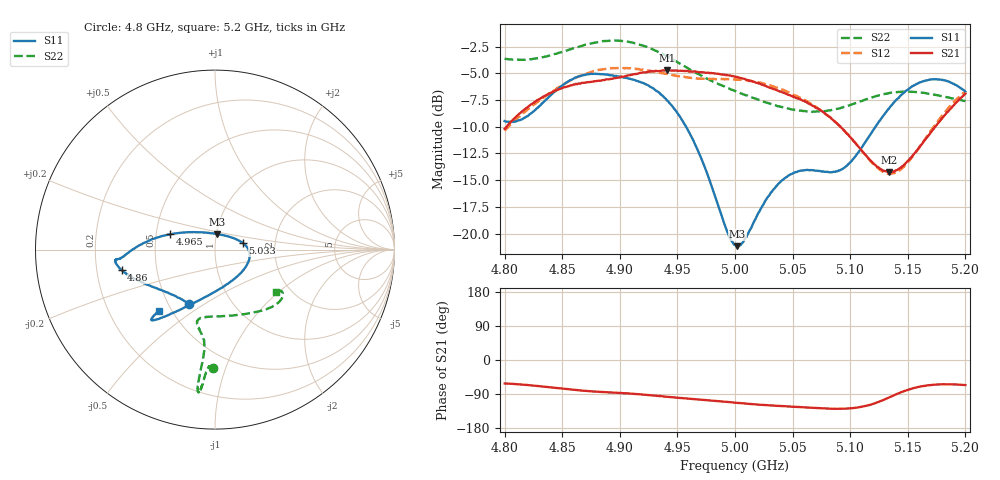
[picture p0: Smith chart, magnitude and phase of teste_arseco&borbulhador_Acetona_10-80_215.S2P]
! Network Analyzer HP8722D
! Hewlett-Packard
! Data name: Linha & Wilkinson
! Saver's name: Rodrigo Anjos
! Comments: Teste da utilização de aquisição
! continua pelo VNA HP8722D
! Time and date: 17/4/2025 16:09
!  Frequency  S11  S21  S12  S22
# HZ  S  MA R 50
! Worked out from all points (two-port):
!   401 points, 4.8 GHz to 5.2 GHz, reference 50 ohm
!   highest |S21| = -4.72 dB at 4.941 GHz (marker M1); lowest = -14.2 dB at 5.134 GHz (marker M2)
!   |S21| within 3 dB of the highest: 4.826 GHz to 5.062 GHz (236.7 MHz wide, 4.79 % of centre); 5.192232 GHz to end of sweep
!   lowest |S11| = -21.2 dB at 5.002 GHz (marker M3), VSWR 1.19, Z = 50.6 + j8.79 ohm
!   |S11| at or under -10 dB: 4.958 GHz to 5.122 GHz (164.4 MHz wide, 3.26 % of centre)
!   |S22| runs from -8.6 to -1.9 dB; largest |S21 - S12| = 0.87
!   S11 on the Smith chart (normalised r, x): 4.8 GHz: 0.63, -0.43; 4.86 GHz: 0.31, -0.10; 4.965 GHz: 0.59, +0.11; 5.033 GHz: 1.36, +0.10; 5.2 GHz: 0.43, -0.37
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4.8e9  0.3361 -115.9  0.3091 -62.0  0.3034 -176.0  0.658 -91.1
4.819e9  0.3529 -136.1  0.3873 -65.7  0.3763 -175.4  0.6523 -92.6
4.86e9  0.5326 -167.6  0.4988 -78.6  0.5292 -178.6  0.7365 -95.1
4.867e9  0.5491 -170.4  0.5075 -80.6  0.5501 179.9  0.7564 -95.4
4.9e9  0.5425 -174.4  0.5382 -86.9  0.5947 173.8  0.7985 -96.8
4.934e9  0.4572 179.7  0.576 -95.3  0.5668 170.5  0.7061 -97.0
4.941e9  0.4198 176.6  0.5806 -97.1  0.5587 170.5  0.6757 -96.7
4.965e9  0.2637 161.2  0.5747 -103.6  0.5333 172.5  0.5706 -96.1
4.993e9  0.1027 114.5  0.552 -110.6  0.5282 174.6  0.4807 -98.7
5e9  0.08842 89.2  0.5423 -112.6  0.5262 174.7  0.4642 -100.1
5.002e9  0.08729 81.0  0.5406 -113.1  0.5247 174.8  0.461 -100.4
5.008e9  0.09318 59.3  0.53 -114.5  0.5231 174.5  0.4476 -101.7
5.033e9  0.16 13.1  0.4753 -120.2  0.4886 173.4  0.4024 -103.5
5.049e9  0.1898 -2.4  0.4401 -123.0  0.4511 173.0  0.3809 -99.1
5.067e9  0.1979 -21.7  0.3974 -126.2  0.4016 172.5  0.371 -89.1
5.095e9  0.2035 -70.2  0.3023 -128.5  0.3029 174.4  0.3916 -67.0
5.121e9  0.3103 -110.2  0.2107 -114.8  0.2089 -169.6  0.4373 -49.6
5.134e9  0.387 -120.2  0.194 -98.5  0.1907 -151.7  0.4548 -43.2
5.148e9  0.4634 -126.7  0.213 -80.7  0.2094 -131.0  0.462 -38.0
5.168e9  0.5237 -131.3  0.2877 -66.8  0.2918 -113.2  0.4507 -33.2
5.184e9  0.5169 -132.6  0.3688 -64.2  0.3803 -108.4  0.4348 -32.0
5.2e9  0.4612 -132.6  0.4513 -66.2  0.4637 -108.2  0.4165 -34.7
